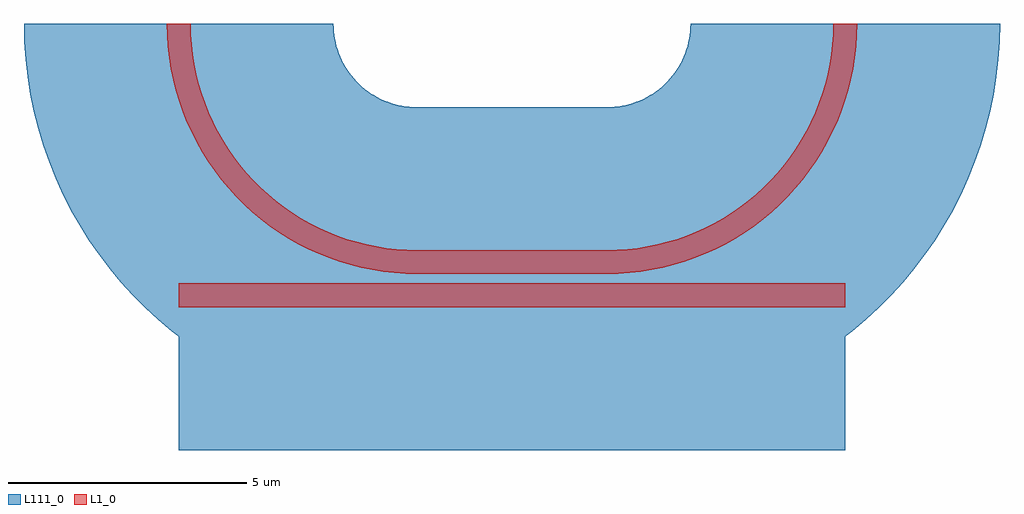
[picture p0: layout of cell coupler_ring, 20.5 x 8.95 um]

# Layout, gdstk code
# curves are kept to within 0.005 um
import gdstk
lib = gdstk.Library(unit=1e-6, precision=1e-09)
def R(c, l, rs):  # rectangles x0, y0, x1, y1
    for r in rs: c.add(gdstk.rectangle(r[:2], r[2:], *l))
def P(c, l, *ps):  # polygons
    for p in ps: c.add(gdstk.Polygon(p, *l))
L1_0 = (1, 0)
L111_0 = (111, 0)

coupler_ring = lib.new_cell('coupler_ring')
R(coupler_ring, L1_0, [(-9,-0.25,-4,0.25), (-4,-0.25,0,0.25), (0,-0.25,5,0.25), (-4,0.45,0,0.95)])
P(coupler_ring, L1_0, [(-8.75,5.7),(-8.731,5.274),(-8.674,4.852),(-8.579,4.436),(-8.518,4.232),(-8.447,4.031),(-8.28,3.639),(-8.078,3.264),(-7.843,2.908),(-7.714,2.738),(-7.577,2.575),(-7.283,2.267),(-6.962,1.986),(-6.792,1.857),(-6.436,1.622),(-6.061,1.42),(-5.867,1.332),(-5.468,1.182),(-5.057,1.069),(-4.848,1.026),(-4.426,0.969),(-4,0.95),(-4,0.45),(-4.236,0.455),(-4.471,0.471),(-4.937,0.534),(-5.397,0.639),(-5.622,0.707),(-5.845,0.785),(-6.063,0.872),(-6.278,0.97),(-6.488,1.077),(-6.693,1.193),(-6.892,1.318),(-7.086,1.453),(-7.273,1.595),(-7.454,1.746),(-7.628,1.905),(-7.795,2.072),(-7.954,2.246),(-8.105,2.427),(-8.382,2.808),(-8.507,3.007),(-8.623,3.212),(-8.73,3.422),(-8.828,3.637),(-8.915,3.855),(-8.993,4.078),(-9.061,4.303),(-9.118,4.532),(-9.166,4.763),(-9.229,5.229),(-9.245,5.464),(-9.25,5.7)],
  [(4.75,5.7),(4.731,5.274),(4.674,4.852),(4.579,4.436),(4.518,4.232),(4.447,4.031),(4.28,3.639),(4.078,3.264),(3.843,2.908),(3.714,2.738),(3.577,2.575),(3.283,2.267),(2.962,1.986),(2.792,1.857),(2.436,1.622),(2.061,1.42),(1.867,1.332),(1.468,1.182),(1.057,1.069),(0.848,1.026),(0.426,0.969),(0,0.95),(0,0.45),(0.236,0.455),(0.471,0.471),(0.937,0.534),(1.397,0.639),(1.622,0.707),(1.845,0.785),(2.063,0.872),(2.278,0.97),(2.488,1.077),(2.693,1.193),(2.892,1.318),(3.086,1.453),(3.273,1.595),(3.454,1.746),(3.628,1.905),(3.795,2.072),(3.954,2.246),(4.105,2.427),(4.382,2.808),(4.507,3.007),(4.623,3.212),(4.73,3.422),(4.828,3.637),(4.915,3.855),(4.993,4.078),(5.061,4.303),(5.118,4.532),(5.166,4.763),(5.229,5.229),(5.245,5.464),(5.25,5.7)])
R(coupler_ring, L111_0, [(-9,-3.25,-4,3.25), (-4,-3.25,0,3.95), (0,-3.25,5,3.25)])
P(coupler_ring, L111_0, [(-5.75,5.7),(-5.743,5.543),(-5.722,5.388),(-5.687,5.234),(-5.609,5.012),(-5.541,4.871),(-5.461,4.736),(-5.368,4.609),(-5.265,4.491),(-5.151,4.382),(-5.029,4.284),(-4.898,4.198),(-4.688,4.091),(-4.466,4.013),(-4.312,3.978),(-4.157,3.957),(-4,3.95),(-4,-2.55),(-4.37,-2.542),(-4.74,-2.517),(-5.107,-2.475),(-5.473,-2.417),(-5.836,-2.343),(-6.195,-2.253),(-6.549,-2.146),(-6.899,-2.024),(-7.242,-1.886),(-7.58,-1.733),(-7.909,-1.565),(-8.231,-1.382),(-8.545,-1.185),(-8.849,-0.974),(-9.144,-0.75),(-9.428,-0.513),(-9.701,-0.263),(-9.963,-0.001),(-10.213,0.272),(-10.45,0.556),(-10.674,0.851),(-10.885,1.155),(-11.082,1.469),(-11.265,1.791),(-11.433,2.12),(-11.586,2.458),(-11.724,2.801),(-11.846,3.151),(-11.953,3.505),(-12.043,3.864),(-12.117,4.227),(-12.175,4.593),(-12.217,4.96),(-12.242,5.33),(-12.25,5.7)],
  [(1.75,5.7),(1.743,5.543),(1.722,5.388),(1.687,5.234),(1.609,5.012),(1.541,4.871),(1.461,4.736),(1.368,4.609),(1.265,4.491),(1.151,4.382),(1.029,4.284),(0.898,4.198),(0.688,4.091),(0.466,4.013),(0.312,3.978),(0.157,3.957),(0,3.95),(0,-2.55),(0.37,-2.542),(0.74,-2.517),(1.107,-2.475),(1.473,-2.417),(1.836,-2.343),(2.195,-2.253),(2.549,-2.146),(2.899,-2.024),(3.242,-1.886),(3.58,-1.733),(3.909,-1.565),(4.231,-1.382),(4.545,-1.185),(4.849,-0.974),(5.144,-0.75),(5.428,-0.513),(5.701,-0.263),(5.963,-0.001),(6.213,0.272),(6.45,0.556),(6.674,0.851),(6.885,1.155),(7.082,1.469),(7.265,1.791),(7.433,2.12),(7.586,2.458),(7.724,2.801),(7.846,3.151),(7.953,3.505),(8.043,3.864),(8.117,4.227),(8.175,4.593),(8.217,4.96),(8.242,5.33),(8.25,5.7)])

lib.write_gds('coupler_ring.gds')
